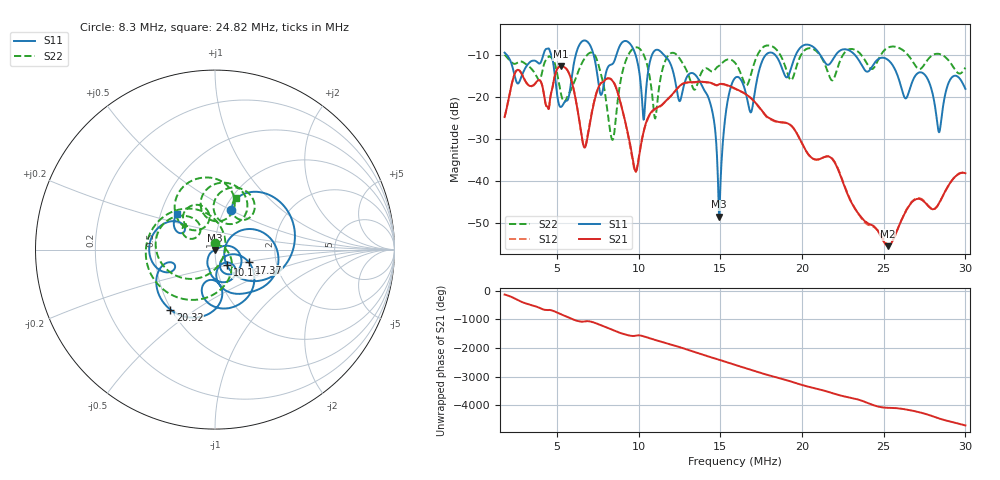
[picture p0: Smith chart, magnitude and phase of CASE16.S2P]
!Agilent Technologies,E5061B,MY49101568,A.02.00
!Date: Wed Mar 01 15:50:05 2023
!Data & Calibration Information:
!Freq	S11:SOLT2(OFF)	S21:SOLT2(OFF)	S12:SOLT2(OFF)	S22:SOLT2(OFF)
# Hz S dB R 50
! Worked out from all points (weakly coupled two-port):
!   1155 points, 1.8 MHz to 30 MHz, reference 50 ohm
!   highest |S21| = -12.73 dB at 5.246 MHz (marker M1); lowest = -55.5 dB at 25.26 MHz (marker M2)
!   lowest |S11| = -48.4 dB at 14.92 MHz (marker M3), VSWR 1.01, Z = 50.1 - j0.375 ohm
!   |S11| at or under -10 dB: 1.92 MHz to 4.167 MHz (2.247 MHz wide, 73.8 % of centre); 11.53 MHz to 17.8 MHz (6.263 MHz wide, 42.7 % of centre); 23.22 MHz to end of sweep (the widest 3 of 8)
!   |S22| runs from -30.2 to -7.8 dB; largest |S21 - S12| = 0.0049
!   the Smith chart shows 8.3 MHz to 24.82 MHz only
!   S11 on the Smith chart (normalised r, x): 8.3 MHz: 1.07, +0.51; 10.18 MHz: 1.12, -0.20; 17.37 MHz: 1.45, -0.22; 20.32 MHz: 0.49, -0.40; 24.82 MHz: 0.61, +0.26
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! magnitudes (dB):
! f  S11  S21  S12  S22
! 1.8 MHz  -9.5  -24.8  -24.8  -10.0
! 2.606 MHz  -16.9  -13.6  -13.5  -11.8
! 4.488 MHz  -8.5  -22.9  -22.9  -10.5
! 5.246 MHz  -22.4  -12.7  -12.7  -19.2
! 6.516 MHz  -6.9  -29.3  -29.3  -12.1
! 7.42 MHz  -13.4  -19.1  -19.0  -10.9
! 8.3 MHz  -12.4  -15.8  -15.7  -29.1
! 9.742 MHz  -9.2  -36.9  -37.4  -8.4
! 10.18 MHz  -19.2  -30.6  -30.5  -9.1
! 11.21 MHz  -8.9  -22.4  -22.6  -19.1
! 14.24 MHz  -19.9  -16.5  -16.6  -13.4
! 14.92 MHz  -48.4  -17.0  -17.1  -12.6
! 15.9 MHz  -15.5  -18.0  -18.1  -11.9
! 16.85 MHz  -23.7  -20.2  -20.2  -15.0
! 17.37 MHz  -13.9  -22.4  -22.5  -9.4
! 20.32 MHz  -7.6  -33.3  -33.3  -8.6
! 20.62 MHz  -8.0  -34.5  -34.6  -8.6
! 24.82 MHz  -10.8  -53.1  -52.8  -10.1
! 25.26 MHz  -11.2  -55.5  -55.1  -8.3
! 25.31 MHz  -11.4  -55.4  -55.1  -8.2
! 28.39 MHz  -28.4  -45.3  -45.3  -9.8
! 30 MHz  -18.1  -38.1  -38.1  -13.1
